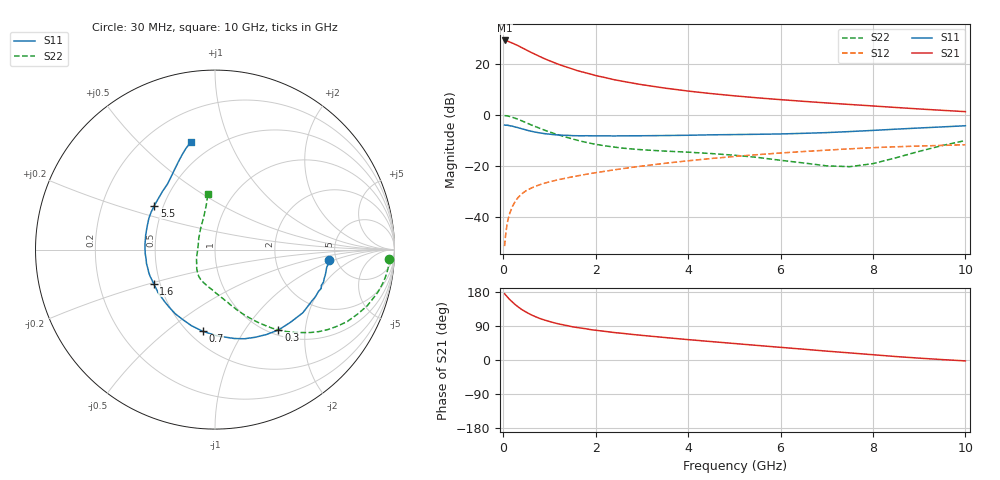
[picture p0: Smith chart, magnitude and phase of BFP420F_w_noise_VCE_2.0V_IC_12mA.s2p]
! Infineon Technologies  Discrete & RF Semiconductors
! BFP420F
! VCE =  2.0 V,  IC =  12 mA
! Common Emitter S-Parameters:  Sep 2011
# GHz  S  MA  R  50
!  f  S11  S21  S12  S22
! GHz  MAG  ANG  MAG  ANG  MAG  ANG  MAG  ANG
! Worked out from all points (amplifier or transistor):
!   54 points, 30 MHz to 10 GHz, reference 50 ohm
!   highest |S21| = 29.4 dB at 30 MHz (marker M1)
!   |S21| within 3 dB of that: start of sweep to 420.8 MHz
!   unconditionally stable (mu >= 1): 1.935 GHz to end of sweep
!   at 120 MHz: K = 0.17, MSG = 34.6 dB, |S12| = -40.2 dB
!   at 1.3 GHz: K = 0.80, MSG = 22.2 dB, |S12| = -25.1 dB
!   at 10 GHz: K = 1.27, MAG = 3.4 dB, |S12| = -11.7 dB
!   lowest NFmin = 1.26 dB at 450 MHz
!   S11 on the Smith chart (normalised r, x): 30 MHz: 4.34, -0.88; 300 MHz: 1.09, -1.45; 700 MHz: 0.58, -0.67; 1.6 GHz: 0.46, -0.21; 5.5 GHz: 0.45, +0.26; 10 GHz: 0.38, +0.73
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0.03  0.6383 -5.4  29.59 174.9  0.0026 90.4  0.973 -3.0
0.05  0.6303 -8.9  29.22 171.5  0.0042 88.4  0.9715 -5.3
0.07  0.6307 -13.4  29.17 169.2  0.0058 85.3  0.9665 -7.5
0.1  0.6252 -18.6  28.67 164.8  0.0084 83.0  0.9559 -10.6
0.15  0.612 -27.4  27.37 158.4  0.0121 79.1  0.932 -15.6
0.25  0.5837 -44.0  24.93 147.2  0.0191 72.9  0.8706 -24.5
0.3  0.5706 -51.7  23.86 142.3  0.0224 70.2  0.8391 -28.5
0.4  0.537 -65.5  21.4 133.4  0.0278 65.9  0.7698 -35.4
0.5  0.5067 -77.8  19.22 126.1  0.0324 62.4  0.7042 -41.0
0.6  0.4805 -88.8  17.26 119.6  0.0361 59.9  0.6429 -46.0
0.7  0.4602 -98.6  15.64 114.1  0.0396 58.2  0.5914 -50.1
0.9  0.4295 -114.6  12.85 105.2  0.0455 56.0  0.5018 -56.9
1.1  0.4109 -127.8  10.86 98.2  0.0507 54.8  0.4328 -62.6
1.3  0.3993 -138.2  9.282 92.7  0.0557 54.4  0.3806 -67.5
1.6  0.3913 -151.0  7.54 85.7  0.0631 54.0  0.3196 -74.4
1.7  0.3899 -154.5  7.122 84.0  0.0655 54.0  0.3028 -76.4
2.4  0.3875 -172.9  4.985 72.5  0.0831 53.3  0.2338 -91.2
3.5  0.3948 167.9  3.4 59.3  0.1119 50.7  0.1948 -109.0
5.5  0.4177 144.1  2.187 38.4  0.1657 41.3  0.1463 -134.1
7  0.4509 126.0  1.733 23.4  0.2034 32.5  0.0996 -171.3
8.5  0.5274 113.0  1.411 9.1  0.2371 22.3  0.144 123.6
10  0.6153 102.6  1.168 -2.4  0.2598 13.4  0.3145 97.2
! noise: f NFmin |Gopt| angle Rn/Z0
0.45  1.26  0.03  161  0.12
0.9  1.26  0.06  135  0.14
1.9  1.4  0.17  170  0.18
2.4  1.46  0.17  173  0.12
3.5  1.72  0.22  -173  0.16
